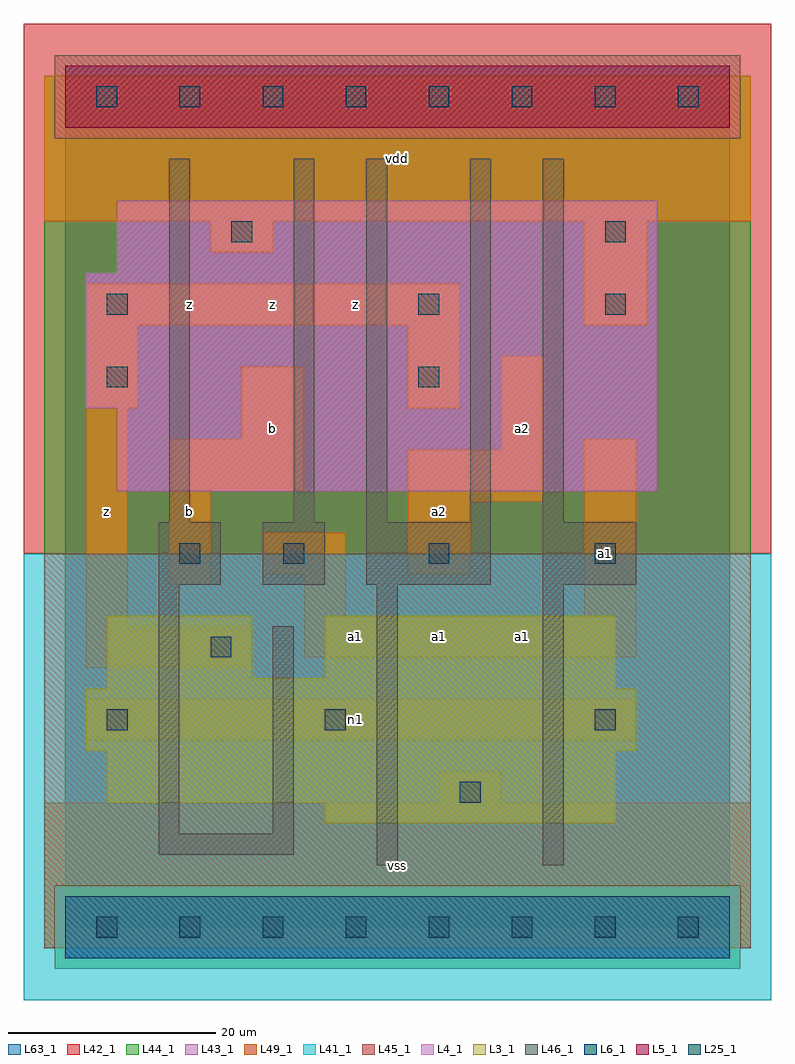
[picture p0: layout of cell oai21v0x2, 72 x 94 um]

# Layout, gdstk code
import gdstk
lib = gdstk.Library(unit=1e-6, precision=1e-09)
def R(c, l, rs):  # rectangles x0, y0, x1, y1
    for r in rs: c.add(gdstk.rectangle(r[:2], r[2:], *l))
def A(c, l, x, y, w, h, nx, ny, dx, dy):  # array of equal rectangles
    R(c, l, [(x+i*dx, y+j*dy, x+i*dx+w, y+j*dy+h) for i in range(nx) for j in range(ny)])
L3_1 = (3, 1)
L4_1 = (4, 1)
L5_1 = (5, 1)
L6_1 = (6, 1)
L25_1 = (25, 1)
L41_1 = (41, 1)
L42_1 = (42, 1)
L43_1 = (43, 1)
L44_1 = (44, 1)
L45_1 = (45, 1)
L46_1 = (46, 1)
L49_1 = (49, 1)
L63_1 = (63, 1)

oai21v0x2 = lib.new_cell('oai21v0x2')
R(oai21v0x2, L3_1, [(25,10,53,12), (4,12,53,17), (2,17,55,23), (4,23,53,24), (4,24,18,30), (25,24,53,30)])
R(oai21v0x2, L4_1, [(5,42,57,50), (2,50,57,63), (5,63,57,70)])
R(oai21v0x2, L5_1, [(0,77,64,83)])
R(oai21v0x2, L6_1, [(0,-3,64,3), (0,-3,64,3)])
A(oai21v0x2, L25_1, 3, -1, 2, 2, 8, 2, 8, 80)
R(oai21v0x2, L25_1, [(38,12,40,14), (4,19,6,21), (25,19,27,21), (51,19,53,21), (14,26,16,28), (11,35,13,37), (21,35,23,37), (35,35,37,37), (51,35,53,37), (4,52,6,54), (34,52,36,54), (4,59,6,61), (34,59,36,61), (52,59,54,61), (16,66,18,68), (52,66,54,68)])
R(oai21v0x2, L41_1, [(-4,-7,68,36)])
R(oai21v0x2, L42_1, [(-4,36,68,87)])
R(oai21v0x2, L43_1, [(0,-3,64,3), (25,10,53,12), (4,12,53,17), (2,17,55,23), (4,23,53,24), (4,24,18,30), (25,24,53,30), (5,42,57,50), (2,50,57,63), (5,63,57,70), (0,77,64,83)])
R(oai21v0x2, L44_1, [(-1,-4,65,4), (-2,36,66,76), (-2,76,-1,82), (65,76,66,82)])
R(oai21v0x2, L45_1, [(-2,-2,-1,4), (65,-2,66,4), (-2,4,66,36), (-1,76,65,84)])
R(oai21v0x2, L46_1, [(30,6,32,33), (46,6,48,33), (9,7,22,9), (9,9,11,33), (20,9,22,29), (9,33,15,39), (19,33,25,39), (29,33,41,39), (46,33,55,39), (10,39,12,74), (22,39,24,74), (29,39,31,74), (39,39,41,74), (46,39,48,74)])
R(oai21v0x2, L49_1, [(-2,-2,66,12), (36,12,42,15), (2,18,55,22), (2,25,18,29), (23,26,55,30), (2,29,6,50), (23,30,27,34), (50,30,55,47), (10,33,14,42), (19,34,27,38), (33,34,39,41), (33,41,46,46), (10,42,23,47), (42,46,46,55), (17,47,23,54), (2,50,7,58), (33,50,38,58), (2,58,38,62), (50,58,56,68), (14,65,20,68), (-2,68,66,82)])
R(oai21v0x2, L63_1, [(0,0,64,80)])
oai21v0x2.add(gdstk.Label('z', (4,40), layer=49, texttype=1))
oai21v0x2.add(gdstk.Label('b', (12,40), layer=49, texttype=1))
oai21v0x2.add(gdstk.Label('b', (20,48), layer=49, texttype=1))
oai21v0x2.add(gdstk.Label('z', (12,60), layer=49, texttype=1))
oai21v0x2.add(gdstk.Label('z', (20,60), layer=49, texttype=1))
oai21v0x2.add(gdstk.Label('vss', (32,6), layer=49, texttype=1))
oai21v0x2.add(gdstk.Label('a1', (28,28), layer=49, texttype=1))
oai21v0x2.add(gdstk.Label('a1', (36,28), layer=49, texttype=1))
oai21v0x2.add(gdstk.Label('a2', (36,40), layer=49, texttype=1))
oai21v0x2.add(gdstk.Label('z', (28,60), layer=49, texttype=1))
oai21v0x2.add(gdstk.Label('vdd', (32,74), layer=49, texttype=1))
oai21v0x2.add(gdstk.Label('a1', (44,28), layer=49, texttype=1))
oai21v0x2.add(gdstk.Label('a2', (44,48), layer=49, texttype=1))
oai21v0x2.add(gdstk.Label('n1', (28,20), layer=49, texttype=1))
oai21v0x2.add(gdstk.Label('a1', (52,36), layer=49, texttype=1))

lib.write_gds('oai21v0x2.gds')
